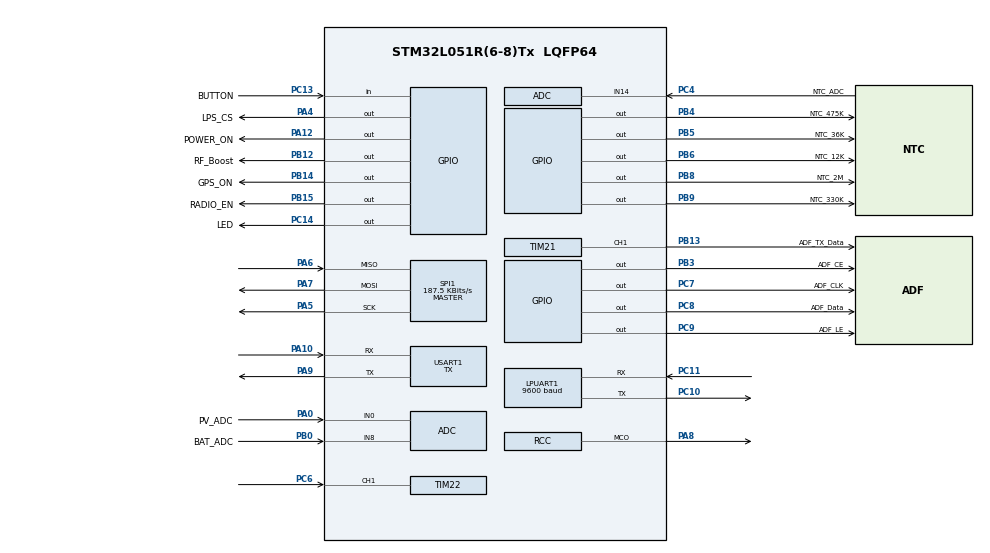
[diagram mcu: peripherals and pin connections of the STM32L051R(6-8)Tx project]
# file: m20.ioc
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ADC.ContinuousConvMode=DISABLE
ADC.Overrun=ADC_OVR_DATA_OVERWRITTEN
ADC.SamplingTime=ADC_SAMPLETIME_3CYCLES_5
IWDG.Prescaler=IWDG_PRESCALER_8
IWDG.Reload=4095
IWDG.Window=4095
LPUART1.BaudRate=9600
LPUART1.Mode=UART_MODE_TX_RX
LPUART1.OverrunDisableParam=UART_ADVFEATURE_OVERRUN_ENABLE
LPUART1.WordLength=UART_WORDLENGTH_8B
Mcu.Family=STM32L0
Mcu.Name=STM32L051R(6-8)Tx
Mcu.Package=LQFP64
NVIC.LPUART1_IRQn=true\:0\:0\:false\:false\:true\:true\:true\:true
NVIC.TIM21_IRQn=true\:0\:0\:false\:false\:true\:true\:true\:true
NVIC.TIM22_IRQn=true\:0\:0\:false\:false\:true\:true\:true\:true
NVIC.TIM2_IRQn=true\:0\:0\:false\:false\:true\:true\:true\:true
NVIC.TIM6_DAC_IRQn=true\:0\:0\:false\:false\:true\:true\:true\:true
PA0.GPIO_Label=PV_ADC
PA0.Mode=IN0
PA0.Signal=ADC_IN0
PA10.Mode=Asynchronous
PA10.Signal=USART1_RX
PA12.GPIO_Label=POWER_ON
PA12.Signal=GPIO_Output
PA4.GPIO_Label=LPS_CS
PA4.Signal=GPIO_Output
PA5.Mode=Full_Duplex_Master
PA5.Signal=SPI1_SCK
PA6.Mode=Full_Duplex_Master
PA6.Signal=SPI1_MISO
PA7.Mode=Full_Duplex_Master
PA7.Signal=SPI1_MOSI
PA8.GPIO_Speed=GPIO_SPEED_FREQ_VERY_HIGH
PA8.Mode=Clock-out
PA8.Signal=RCC_MCO
PA9.Mode=Asynchronous
PA9.Signal=USART1_TX
PB0.GPIO_Label=BAT_ADC
PB0.Mode=IN8
PB0.Signal=ADC_IN8
PB12.GPIO_Label=RF_Boost
PB12.Signal=GPIO_Output
PB13.GPIO_Label=ADF_TX_Data
PB13.Signal=S_TIM21_CH1
PB14.GPIO_Label=GPS_ON
PB14.Signal=GPIO_Output
PB15.GPIO_Label=RADIO_EN
PB15.Signal=GPIO_Output
PB3.GPIO_Label=ADF_CE
PB3.Signal=GPIO_Output
PB4.GPIO_Label=NTC_475K
PB4.GPIO_ModeDefaultOutputPP=GPIO_MODE_OUTPUT_OD
PB4.GPIO_PuPd=GPIO_NOPULL
PB4.Signal=GPIO_Output
PB5.GPIO_Label=NTC_36K
PB5.GPIO_ModeDefaultOutputPP=GPIO_MODE_OUTPUT_OD
PB5.GPIO_PuPd=GPIO_NOPULL
PB5.Signal=GPIO_Output
PB6.GPIO_Label=NTC_12K
PB6.GPIO_ModeDefaultOutputPP=GPIO_MODE_OUTPUT_OD
PB6.GPIO_PuPd=GPIO_NOPULL
PB6.Signal=GPIO_Output
PB8.GPIO_Label=NTC_2M
PB8.GPIO_ModeDefaultOutputPP=GPIO_MODE_OUTPUT_OD
PB8.GPIO_PuPd=GPIO_NOPULL
PB8.Signal=GPIO_Output
PB9.GPIO_Label=NTC_330K
PB9.GPIO_ModeDefaultOutputPP=GPIO_MODE_OUTPUT_OD
PB9.GPIO_PuPd=GPIO_NOPULL
PB9.Signal=GPIO_Output
PC10.Mode=Asynchronous
PC10.Signal=LPUART1_TX
PC11.Mode=Asynchronous
PC11.Signal=LPUART1_RX
PC13.GPIO_Label=BUTTON
PC13.Signal=GPIO_Input
PC14-OSC32_IN.GPIO_Label=LED
PC14-OSC32_IN.Signal=GPIO_Output
PC4.GPIO_Label=NTC_ADC
PC4.Mode=IN14
PC4.Signal=ADC_IN14
PC6.Signal=S_TIM22_CH1
PC7.GPIO_Label=ADF_CLK
PC7.Signal=GPIO_Output
PC8.GPIO_Label=ADF_Data
PC8.Signal=GPIO_Output
PC9.GPIO_Label=ADF_LE
PC9.Signal=GPIO_Output
PH0-OSC_IN.Mode=HSE-External-Oscillator
PH0-OSC_IN.Signal=RCC_OSC_IN
PH1-OSC_OUT.Mode=HSE-External-Oscillator
PH1-OSC_OUT.Signal=RCC_OSC_OUT
ProjectManager.HeapSize=0x200
ProjectManager.StackSize=0x400
ProjectManager.TargetToolchain=Makefile
RCC.AHBFreq_Value=12000000
RCC.APB1Freq_Value=12000000
RCC.APB1TimFreq_Value=12000000
RCC.APB2Freq_Value=12000000
RCC.APB2TimFreq_Value=12000000
RCC.HCLKFreq_Value=12000000
RCC.HSE_VALUE=8000000
RCC.HSI16_VALUE=16000000
RCC.HSI_VALUE=16000000
RCC.LSE_VALUE=32768
RCC.Lpuart1ClockSelection=RCC_LPUART1CLKSOURCE_SYSCLK
RCC.MSI_VALUE=2097000
RCC.PLLSourceVirtual=RCC_PLLSOURCE_HSE
RCC.RCC_MCOSource=RCC_MCO1SOURCE_HSE
RCC.SYSCLKFreq_VALUE=12000000
RCC.SYSCLKSource=RCC_SYSCLKSOURCE_PLLCLK
RCC.Usart1ClockSelection=RCC_USART1CLKSOURCE_SYSCLK
RCC.VCOOutputFreq_Value=24000000
SH.S_TIM21_CH1.0=TIM21_CH1,PWM Generation1 CH1
SH.S_TIM22_CH1.0=TIM22_CH1,TriggerSource_TI1FP1
SPI1.BaudRatePrescaler=SPI_BAUDRATEPRESCALER_64
SPI1.CLKPhase=SPI_PHASE_2EDGE
SPI1.CLKPolarity=SPI_POLARITY_HIGH
SPI1.CRCCalculation=SPI_CRCCALCULATION_ENABLE
SPI1.CRCLength=SPI_CRC_LENGTH_8BIT
SPI1.CalculateBaudRate=187.5 KBits/s
SPI1.Direction=SPI_DIRECTION_2LINES
SPI1.Mode=SPI_MODE_MASTER
SPI1.VirtualType=VM_MASTER
TIM21.Channel-PWM\ Generation1\ CH1=TIM_CHANNEL_1
TIM21.OCFastMode_PWM-PWM\ Generation1\ CH1=TIM_OCFAST_ENABLE
TIM6.Prescaler=60000
USART1.Mode=MODE_TX
USART1.VirtualMode-Asynchronous=VM_ASYNC
VP_IWDG_VS_IWDG.Mode=IWDG_Activate
VP_TIM22_VS_ControllerModeClock.Mode=Clock Mode
VP_TIM2_VS_ClockSourceINT.Mode=Internal
VP_TIM6_VS_ClockSourceINT.Mode=Enable_Timer
board=custom

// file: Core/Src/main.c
/* USER CODE BEGIN Header */
/*
 * Main file of M20 custom firmware project
 */
/* USER CODE END Header */
#include "main.h"

/* USER CODE BEGIN Includes */
#include "config.h"
#include "utils.h"

#if GPS_TYPE == 1
#include "nmea.h"
#elif GPS_TYPE == 2
#include "xm_gps.h"
#endif
#include "adf.h"
#if HORUS_ENABLE
#include "fsk4.h"
#include "horus_l2.h"
#endif
#if HORUS_ENABLE == 3
#include "horus_v3.h"
#endif
#if APRS_ENABLE
#include "afsk.h"
#include "aprs.h"
#endif
#if LPS22_ENABLE
#include "lps22hb.h"
#endif
#if DEBUG
#include <stdio.h>
#endif
/* USER CODE END Includes */

/* USER CODE BEGIN PV */
uint8_t GpsRxBuffer[GpsRxBuffer_SIZE];
uint16_t GpsBufferCounter = 0;
bool GpsBufferReady = false;
GPS GpsData;
uint8_t *gps_fix = &GpsData.Fix;

#if GPS_WATCHDOG
struct GpsWatchdogStruct {
	bool PreviousFix;
	bool AfterRestart;
	uint8_t AfterRestartCounter;
	bool TriggerRestart;

#if GPS_TYPE == 2
	uint32_t LastTime;
#endif
} GpsWatchdog;
#endif
uint8_t GpsResetCount = 0;

#if LPS22_ENABLE
uint8_t lps_init;
#endif

int16_t LpsTemp = 0;   // *10
uint16_t LpsPress = 0; // *10

uint16_t BatVoltage = 0;
uint16_t RawPvVoltage = 0;
uint16_t PvVoltage = 0;

int16_t ExtTemp = 0; // *10

#if ADF_PPS_CORRECTION_ENABLE
uint16_t TIM22_High = 0;
#endif

#if APRS_ENABLE
APRSPacket AprsPacket;
#endif

#if HORUS_ENABLE == 2
HorusBinaryPacket HorusPacket;
#endif

#if HORUS_ENABLE == 3
char rawBuffer[HORUS_UNCODED_BUFFER_SIZE];
#endif

uint16_t PacketCount = 0;

#if APRS_ENABLE && HORUS_ENABLE

char CodedBuffer[HORUS_CODED_BUFFER_SIZE > APRS_MAX_PACKET_LEN ? HORUS_CODED_BUFFER_SIZE : APRS_MAX_PACKET_LEN];

#elif APRS_ENABLE
char CodedBuffer[APRS_MAX_PACKET_LEN];
#else
char CodedBuffer[HORUS_CODED_BUFFER_SIZE];
#endif
uint8_t BufferLen;
/* USER CODE END PV */

void SystemClock_Config(void);
static void MX_GPIO_Init(void);
static void MX_LPUART1_UART_Init(void);
static void MX_USART1_UART_Init(void);
static void MX_SPI1_Init(void);
static void MX_TIM22_Init(void);
static void MX_ADC_Init(void);
static void MX_IWDG_Init(void);
static void MX_TIM6_Init(void);
static void MX_TIM21_Init(void);
static void MX_TIM2_Init(void);
/* USER CODE BEGIN PFP */
float convert_temperature(uint16_t temp_adc_raw);
void GPS_Handler(void);
#if LED_MODE == 2
void LED_Handler(void);
#endif
#if HORUS_ENABLE == 2
void build_horus_binary_v2_packet(void);
#elif HORUS_ENABLE == 3
uint8_t build_horus_binary_v3_packet(char* uncoded_buffer);
#endif
#if APRS_ENABLE
void build_aprs_packet(void);
#endif
void main_loop(void);
void DelayWithIWDG(uint16_t time);
#if GPS_TYPE == 1
void GpsAirborne(void);
#endif

#if DEBUG
#ifdef __GNUC__
/* With GCC/RAISONANCE, small printf (option LD Linker->Libraries->Small printf
   set to 'Yes') calls __io_putchar() */
#define PUTCHAR_PROTOTYPE int __io_putchar(int ch)
#else
#define PUTCHAR_PROTOTYPE int fputc(int ch, FILE* f)
#endif /* __GNUC__ */
/**
 * @brief  Retargets the C library printf function to the USART.
 * @param  None
 * @retval None
 */
PUTCHAR_PROTOTYPE {
	/* Place your implementation of fputc here */
	/* e.g. write a character to the EVAL_COM1 and Loop until the end of
	 * transmission */
	while (!LL_USART_IsActiveFlag_TXE(USART1)) {
	}
	LL_USART_TransmitData9(USART1, ch);

	return ch;
}
#endif
/* USER CODE END PFP */

/* USER CODE BEGIN 0 */
#if HORUS_ENABLE == 2
void build_horus_binary_v2_packet() {
	HorusPacket.PacketCount = PacketCount;
	HorusPacket.PayloadID = HORUS_V2_PAYLOAD_ID;
	HorusPacket.Hours = GpsData.Hours;
	HorusPacket.Minutes = GpsData.Minutes;
	HorusPacket.Seconds = GpsData.Seconds;
	HorusPacket.Lat = GpsData.Lat;
	HorusPacket.Lon = GpsData.Lon;
	HorusPacket.Speed = GpsData.Speed; // Doesn't work
	HorusPacket.Alt = GpsData.Alt;
	HorusPacket.Sats = GpsData.Sats;
	HorusPacket.AscentRate = GpsData.AscentRate;
	HorusPacket.Temp = (uint8_t)Round(LpsTemp / 10.0f);
	// ADC voltage: 3.3V, divided by ADC max value 4095 (2^12-1). That gives a
	// range between 0 for 0V and 1 for 3.3V. Than it's multiplied by max
	// variable value: 255, and divided by corresponding voltage: 5V, simplified
	// gives 187/4550 Note: this value will not go higher than 168 corresponding
	// to 3.3V max value of ADC
	HorusPacket.BatVoltage = (BatVoltage * 187) / 4550;
	HorusPacket.PvVoltage = (RawPvVoltage * 187) / 4550; // Same as above but prescaled previously by resistor divider values
	HorusPacket.ExtTemp = ExtTemp;
	HorusPacket.Hum = 0; // Not implemented
	HorusPacket.Press = LpsPress;
	HorusPacket.GpsResetCount = GpsResetCount;

	// Horus checksum
	HorusPacket.Checksum = (uint16_t)crc16((char*)&HorusPacket, sizeof(HorusPacket) - 2);
}
#elif HORUS_ENABLE == 3
uint8_t build_horus_binary_v3_packet(
    char* uncoded_buffer) { /* Sourced from https://github.com/darksidelemm/rs41-nfw/blob/main/fw/fw-files/rs41-nfw/rs41-nfw.ino#L936 */
	// Horus v3 packets are encoded using ASN1, and are encapsulated in packets
	// of sizes 32, 48, 64, 96 or 128 bytes (before coding)
	// The CRC16 for these packets is located at the *start* of the packet, still little-endian encoded

	// Erase the uncoded buffer
	// This has the effect of padding out the unused bytes in the packet with zeros
	Memset(uncoded_buffer, 0, HORUS_UNCODED_BUFFER_SIZE);

	// Should check how this is allocated in memory.

	// Need to check how this is allocated in memory. how much it uses.
	// .. also does it get cleared?

	horusTelemetry asnMessage = {
		.payloadCallsign = HORUS_V3_PAYLOAD_CALLSIGN,
	    .sequenceNumber = PacketCount,
	    .timeOfDaySeconds = GpsData.Hours * 3600 + GpsData.Minutes * 60 + GpsData.Seconds,
	    .latitude = (int32_t)((GpsData.Lat) * 100000),
	    .longitude = (int32_t)((GpsData.Lon) * 100000),
	    .altitudeMeters = GpsData.Alt,
	    // Example of adding some custom fields.
	    .extraSensors = {
	        .nCount = 2, // Number of custom fields.
	        .arr = {
				{
	                .name = "gps", // GPS restarts
	                .values = {
						.kind = horusInt_PRESENT,
	                    .u = {
							.horusInt = {
	                    		.nCount = 1,
	                        	.arr = {GpsResetCount},
	                    	}
						}
					},
	                .exist = {
	                    .name = true,
	                    .values = true,
	                },
	            },
	            {
	                .values = {
						.kind = horusStr_PRESENT,
	                    .u = {
	                        .horusStr = "M20" // Sonde identifier
	                    }
					},
	                .exist = {
	                    .values = true,
	                },
	            }
			},
	    },
	    .velocityHorizontalKilometersPerHour = GpsData.Speed, // km/h
	    .gnssSatellitesVisible = GpsData.Sats,
	    .ascentRateCentimetersPerSecond = GpsData.AscentRate, // cm/s
	    .pressurehPa_x10 = (int)(LpsPress),                   // *10
	    .temperatureCelsius_x10 = {
			.internal = LpsTemp, // *10
	        .external = ExtTemp, // *10
	        .exist = {
				.internal = LPS22_ENABLE,
				.external = NTC_ENABLE,
				.custom1 = false,
				.custom2 = false
			}
		},
	    .humidityPercentage = 0,
	    .milliVolts = {
			.battery = BatVoltage,
	        .solar = PvVoltage,
	        .exist = {
				.battery = BAT_ADC_ENABLE,
				.solar = PV_ADC_ENABLE,
				.custom1 = false,
				.custom2 = false
			}
		},
	    // We need to explicitly specify which optional fields we want to include in the packet
	    .exist = {
			.extraSensors = true,
	        .velocityHorizontalKilometersPerHour = (GPS_TYPE == 1), // GPS type 2 doesn't have speed
	        .gnssSatellitesVisible = true,
	        .ascentRateCentimetersPerSecond = true,
	        .pressurehPa_x10 = LPS22_ENABLE,
	        .temperatureCelsius_x10 = true,
	        .humidityPercentage = false, // not implemented yet
	        .milliVolts = true
		}
	};

	// The encoder needs a data structure for the serialization
	// Again - how much memory is allocated here?
	BitStream encodedMessage;

	// The Encoder may fail and update an error code
	int errCode;

	// Initialization associates the buffer to the bit stream
	// We want to write the uncoded message starting at 2 bytes into the message.

	BitStream_Init(&encodedMessage, (unsigned char*)(uncoded_buffer + 2), HORUS_UNCODED_BUFFER_SIZE - 1);
	// Originally this function call used a MUCH larger value for count
	// horusTelemetry_REQUIRED_BYTES_FOR_ENCODING);

	// Encode the message using uPER encoding rule

	// We patch in assert functionality in assert_override.h
	// Before running encode we set assert_value = 0
	// Then check the value in assert_value
	int assert_value = 0;

	if (!horusTelemetry_Encode(&asnMessage, &encodedMessage, &errCode, true) || assert_value != 0) {
		// Error occured
		return 0;
	} else {
		// Encoding was successful!
		// Now we need to figure out the required frame size, and add the CRC.
		int encodedSize = BitStream_GetLength(&encodedMessage);

		// Determine the required frame size.
		// Probably should do this from a list of valid sizes in a neater manner
		int frameSize = 128;
		if (encodedSize <= 30) {
			frameSize = 32;
		} else if (encodedSize <= 46) {
			frameSize = 48;
		} else if (encodedSize <= 62) {
			frameSize = 64;
		} else if (encodedSize <= 94) {
			frameSize = 96;
		} else if (encodedSize <= 126) {
			frameSize = 128;
		} else {
			// Frame too large
			// return 0; // Should this happen?
		}

		// Calculate CRC16 over the frame, starting at byte 2
		uint16_t packetCrc = (uint16_t)crc16((uncoded_buffer + 2), frameSize - 2);
		// Write CRC into bytes 0–1 of the packet
		Memcpy(uncoded_buffer, &packetCrc, sizeof(packetCrc)); // little‑endian on STM32

		return frameSize;
	}

	return 0;
}
#endif
#if APRS_ENABLE
void build_aprs_packet() {
	AprsPacket.PacketCount = PacketCount;
	AprsPacket.Hours = GpsData.Hours;
	AprsPacket.Minutes = GpsData.Minutes;
	AprsPacket.Seconds = GpsData.Seconds;
	AprsPacket.Lat = GpsData.Lat;
	AprsPacket.Lon = GpsData.Lon;
	AprsPacket.Speed = GpsData.Speed;
	AprsPacket.Alt = GpsData.Alt;
	AprsPacket.Sats = GpsData.Sats;
	AprsPacket.GpsResetCount = GpsResetCount;
	AprsPacket.Temp = (uint8_t)Round(LpsTemp / 10.0f);
	AprsPacket.ExtTemp = ExtTemp;
	AprsPacket.Press = LpsPress;
	AprsPacket.BatVoltage = BatVoltage;
	AprsPacket.PvVoltage = PvVoltage;
}
#endif
void main_loop(void) {
	// LED
#if LED_MODE == 1
	LL_GPIO_SetOutputPin(LED_GPIO_Port, LED_Pin);
#elif LED_MODE == 2
	if(LED_RE_EANBLE && GpsData.Fix>2 && GpsData.Alt < LED_DISABLE_ALT){
		LL_TIM_EnableCounter(TIM6);
		LL_TIM_EnableIT_UPDATE(TIM6);
	}
#endif

	// LPS22HB sensor
#if LPS22_ENABLE
	if (lps_init == 0) {
		LpsTemp = (int16_t)Round(LPS22_GetTemp() * 10.0f);
		LpsPress = (uint16_t)Round(LPS22_GetPress() * 10.0f);
	}
#if DEBUG
	printf("LPS22: Temp: %d C, press: %d /10 hPa\r\n", LpsTemp, LpsPress);
#endif
#endif

	// Payload / PV voltage
#if PV_ADC_ENABLE
	LL_ADC_REG_SetSequencerChannels(ADC1, LL_ADC_CHANNEL_0);
	LL_ADC_REG_StartConversion(ADC1);
	while (LL_ADC_IsActiveFlag_EOC(ADC1) == 0) {
	}
	RawPvVoltage =
	    (LL_ADC_REG_ReadConversionData12(ADC1) * (float)(PV_ADC_R1 + PV_ADC_R2)) / PV_ADC_R2; // Raw PV / payload voltage scaled by resistor divider
	PvVoltage = Round((RawPvVoltage * 3300.0f) / 4095);
	LL_ADC_ClearFlag_EOS(ADC1);
#if DEBUG
	printf("PV ADC value: %d\r\n", PvVoltage);
#endif
#endif

	// Bat voltage
#if BAT_ADC_ENABLE
	LL_ADC_REG_SetSequencerChannels(ADC1, LL_ADC_CHANNEL_8);
	LL_ADC_REG_StartConversion(ADC1);
	while (LL_ADC_IsActiveFlag_EOC(ADC1) == 0) {
	}
	BatVoltage = Round((LL_ADC_REG_ReadConversionData12(ADC1) * 3300.0f) / 4095); // ADC voltage scaled for voltage value
	LL_ADC_ClearFlag_EOS(ADC1);
#if DEBUG
	printf("Bat voltage value: %d\r\n", BatVoltage);
#endif
#endif

	// NTC temp reading
#if NTC_ENABLE
	LL_GPIO_SetOutputPin(NTC_36K_GPIO_Port, NTC_36K_Pin);
	LL_mDelay(5);

	LL_ADC_REG_SetSequencerChannels(ADC1, LL_ADC_CHANNEL_14);
	LL_ADC_REG_StartConversion(ADC1);
	while (LL_ADC_IsActiveFlag_EOC(ADC1) == 0) {
	}
	uint16_t temp_adc_raw = LL_ADC_REG_ReadConversionData12(ADC1);
	LL_ADC_ClearFlag_EOS(ADC1);

	LL_GPIO_ResetOutputPin(NTC_36K_GPIO_Port, NTC_36K_Pin);

	float NTC_T = convert_temperature(temp_adc_raw);
	ExtTemp = (int16_t)Round(NTC_T * 10.0);
#if DEBUG
	printf("NTC: raw: %d, Temp: %d /10 C\r\n", temp_adc_raw, ExtTemp);
#endif
#endif

#if GPS_WATCHDOG
	// Set a flag if we have initial fix.
	if (GpsData.Fix > 1 && GpsData.Sats > 0) {
		GpsWatchdog.PreviousFix = true;
		GpsWatchdog.AfterRestart = false;
	}
	// Check GPS reset conditions only if there was initial fix.
	if (GpsWatchdog.PreviousFix) {
		if (GpsData.Fix > 1 && GpsData.Sats > 0) {
			// If there is  fix check spoofing specific conditions.
			// Ascent rate
			// printf("%d %d\r\n",(int32_t)GpsData.Time - TIME_PERIOD,
			// GpsWatchdog.LastTime);
			/*if ((int32_t)GpsData.AscentRate >= GPS_WATCHDOG_ASCENTRATE
			    || (int32_t)GpsData.AscentRate <= (-1*GPS_WATCHDOG_ASCENTRATE)
			    // Time deviation
			    || (GpsWatchdog.LastTime != 0 &&
			    (((int32_t)GpsData.Time - TIME_PERIOD) - GpsWatchdog.LastTime >
			GPS_WATCHDOG_MAX_D_TIME
			    || GpsWatchdog.LastTime - ((int32_t)GpsData.Time - TIME_PERIOD) <
			GPS_WATCHDOG_MAX_D_TIME))) {
			  // If conditions match trigger a restart
			  GpsWatchdog.TriggerRestart = true;
			}

			GpsWatchdog.LastTime = GpsData.Time;
			// if (GpsData.AscentRate >= GPS_WATCHDOG_ASCENTRATE ||
			//(GpsWatchdog.LastTime != 0 &&
			// (GpsData.Time-TIME_PERIOD-GpsWatchdog.LastTime>GPS_WATCHDOG_MAX_TIME ||
			//
			GpsData.Time-TIME_PERIOD-GpsWatchdog.LastTime<(-1*GPS_WATCHDOG_MAX_TIME))))
			*/
		} else if (GpsWatchdog.AfterRestart) {
			// If there is no fix and gps after a restart give it some time before
			// next restart
			GpsWatchdog.AfterRestartCounter++;
			if (GpsWatchdog.AfterRestartCounter >= GPS_WATCHDOG_ARC / TIME_PERIOD) {
				GpsWatchdog.TriggerRestart = true;
			}
		} else {
			GpsWatchdog.TriggerRestart = true;
		}
	}
	// printf("%d %d %d %d\r\n", GpsWatchdog.PreviousFix,
	//       GpsWatchdog.AfterRestart, GpsWatchdog.AfterRestartCounter,
	//       GpsWatchdog.TriggerRestart);

	if (GpsWatchdog.TriggerRestart) {
		LL_GPIO_ResetOutputPin(GPS_ON_GPIO_Port, GPS_ON_Pin); // disable GPS
		DelayWithIWDG(500);
		LL_GPIO_SetOutputPin(GPS_ON_GPIO_Port, GPS_ON_Pin); // enable GPS
	}
#endif

#if APRS_ENABLE
	build_aprs_packet();

	BufferLen = encode_APRS_packet(AprsPacket, CodedBuffer);

	// Transmit
	AFSK_start_TX(CodedBuffer, BufferLen);
	while (AFSK_Active) {
		DelayWithIWDG(10);
	}
#endif
#if HORUS_ENABLE && APRS_ENABLE
	DelayWithIWDG(TX_PAUSE);
#endif
#if HORUS_ENABLE == 2
	build_horus_binary_v2_packet();
	BufferLen = horus_l2_encode_tx_packet((unsigned char*)CodedBuffer, (unsigned char*)&HorusPacket, sizeof(HorusPacket));
#elif HORUS_ENABLE == 3
	uint8_t pkt_len = build_horus_binary_v3_packet(rawBuffer);
	if (pkt_len != 0)
		BufferLen = horus_l2_encode_tx_packet((unsigned char*)CodedBuffer, (unsigned char*)&rawBuffer, pkt_len);
	else
		BufferLen = 0;
#endif

#if HORUS_ENABLE
	// Transmit
	if (BufferLen != 0) {
		FSK4_start_TX(CodedBuffer, BufferLen);
		while (FSK4_Active)
			DelayWithIWDG(10);
	} else {                                       // Error while creating packet, not sending
		LL_GPIO_TogglePin(LED_GPIO_Port, LED_Pin); // Toggle LED for info
	}
#endif

	PacketCount++;

#if GPS_WATCHDOG
	if (GpsWatchdog.TriggerRestart) {
#if GPS_TYPE == 1
		GpsAirborne(); // Send a command to GPS module to change to airborne mode.
		               // clear GPS buffer needed?
#endif
		// GPS type 2 doesn't need mode change

		// Reset variables to after restart state
		GpsWatchdog.TriggerRestart = false;
		GpsWatchdog.AfterRestart = true;
		GpsWatchdog.AfterRestartCounter = 0;
		// GpsWatchdog.LastTime = 0;

		GpsResetCount++;
	}
#endif

// LED
#if LED_MODE == 1
	LL_GPIO_ResetOutputPin(LED_GPIO_Port, LED_Pin);
#endif
}
/* USER CODE END 0 */

int main(void) {

	/* MCU Configuration--------------------------------------------------------*/

	/* Reset of all peripherals, Initializes the Flash interface and the Systick. */
	LL_APB2_GRP1_EnableClock(LL_APB2_GRP1_PERIPH_SYSCFG);
	LL_APB1_GRP1_EnableClock(LL_APB1_GRP1_PERIPH_PWR);

	/* SysTick_IRQn interrupt configuration */
	NVIC_SetPriority(SysTick_IRQn, 4);

	/* Configure the system clock */
	SystemClock_Config();

	/* Initialize all configured peripherals */
	MX_GPIO_Init();
	MX_LPUART1_UART_Init();
	MX_USART1_UART_Init();
	MX_SPI1_Init();
	MX_TIM22_Init();
	MX_ADC_Init();
#if IWDG_ENABLE
	MX_IWDG_Init();
#endif
	MX_TIM6_Init();
	MX_TIM21_Init();
	MX_TIM2_Init();
	/* USER CODE BEGIN 2 */

	// Power on modules
	LL_GPIO_SetOutputPin(POWER_ON_GPIO_Port, POWER_ON_Pin);
	LL_GPIO_SetOutputPin(GPS_ON_GPIO_Port, GPS_ON_Pin);
	LL_GPIO_SetOutputPin(RADIO_EN_GPIO_Port, RADIO_EN_Pin);
	adf_setup(); // Radio module setup

	LL_GPIO_SetOutputPin(LED_GPIO_Port, LED_Pin); // LED ON

#if DEBUG
	printf("Startup\r\n");
#endif

	// Init of LPS22 sensor, try 5 times
#if LPS22_ENABLE
	for (uint8_t i = 0; i < 5; i++) {
		lps_init = LPS22_Init();
		if (lps_init == 0) break;
	}
#if DEBUG
	printf("LPS init: %d\r\n", lps_init);
#endif
#endif

	// ADC init
#if NTC_ENABLE || BAT_ADC_ENABLE
	LL_ADC_ClearFlag_ADRDY(ADC1);
	LL_ADC_Enable(ADC1);
	while (LL_ADC_IsActiveFlag_ADRDY(ADC1) == 0) {
	}
#endif

	// GPS UART init
	LL_LPUART_Enable(LPUART1); // Disable interrupt for sending command
	LL_LPUART_EnableIT_RXNE(LPUART1);

#if GPS_TYPE == 1
	// u-blox change mode to airborne
	DelayWithIWDG(2000); // Wait for full GPS start
	GpsAirborne();       // Send a command to GPS module to change to airborne mode.
	DelayWithIWDG(100);
#endif

	// LED timer
#if LED_MODE == 2
	LL_TIM_EnableCounter(TIM6);
	LL_TIM_EnableIT_UPDATE(TIM6);
#else
	LL_GPIO_ResetOutputPin(LED_GPIO_Port, LED_Pin); // LED OFF
#endif

	// PPS freq correction timer
#if ADF_PPS_CORRECTION_ENABLE
	LL_EXTI_ClearFlag_0_31(LL_EXTI_LINE_2);
	LL_TIM_EnableCounter(TIM22);
	LL_TIM_EnableIT_UPDATE(TIM22);
#endif

	// main loop timer
	LL_TIM_EnableCounter(TIM2);
	LL_TIM_EnableIT_UPDATE(TIM2);

	/* Interrupt priorites:
	 * TIM21 - modulation timer: 0
	* TIM6 - LED timer: 0
	* TIM22 - Frequency correction timer: 0
	 * EXTI2_3 - GPS PPS correction: 1
	 * LPUART1 - GPS UART RX: 2
	 * SysTick: 4
	 * TIM2 - main loop: 5
	 */

	/* USER CODE END 2 */

	/* Infinite loop */
	while (1) {

/* USER CODE BEGIN 3 */
#ifdef IWDG_ENABLE
		LL_IWDG_ReloadCounter(IWDG);
#endif
		if (GpsBufferReady) {
#if GPS_TYPE == 1
			ParseNMEA(&GpsData, GpsRxBuffer);
#elif GPS_TYPE == 2
			parseXM(&GpsData, GpsRxBuffer);
#endif
#if GPS_DEBUG
			gps_debug(GpsData);
#endif
			GpsBufferReady = false;
		}
		LL_mDelay(10);
	}
	/* USER CODE END 3 */
}

void SystemClock_Config(void) {
	LL_FLASH_SetLatency(LL_FLASH_LATENCY_0);
	while (LL_FLASH_GetLatency() != LL_FLASH_LATENCY_0) {
	}
	LL_PWR_SetRegulVoltageScaling(LL_PWR_REGU_VOLTAGE_SCALE1);
	while (LL_PWR_IsActiveFlag_VOS() != 0) {
	}
	LL_RCC_HSE_Enable();

	/* Wait till HSE is ready */
	while (LL_RCC_HSE_IsReady() != 1) {
	}
	LL_RCC_LSI_Enable();

	/* Wait till LSI is ready */
	while (LL_RCC_LSI_IsReady() != 1) {
	}
	LL_RCC_PLL_ConfigDomain_SYS(LL_RCC_PLLSOURCE_HSE, LL_RCC_PLL_MUL_3, LL_RCC_PLL_DIV_2);
	LL_RCC_PLL_Enable();

	/* Wait till PLL is ready */
	while (LL_RCC_PLL_IsReady() != 1) {
	}
	LL_RCC_SetAHBPrescaler(LL_RCC_SYSCLK_DIV_1);
	LL_RCC_SetAPB1Prescaler(LL_RCC_APB1_DIV_1);
	LL_RCC_SetAPB2Prescaler(LL_RCC_APB2_DIV_1);
	LL_RCC_SetSysClkSource(LL_RCC_SYS_CLKSOURCE_PLL);

	/* Wait till System clock is ready */
	while (LL_RCC_GetSysClkSource() != LL_RCC_SYS_CLKSOURCE_STATUS_PLL) {
	}

	LL_Init1msTick(12000000);

	LL_SetSystemCoreClock(12000000);
	LL_RCC_SetUSARTClockSource(LL_RCC_USART1_CLKSOURCE_SYSCLK);
	LL_RCC_SetLPUARTClockSource(LL_RCC_LPUART1_CLKSOURCE_SYSCLK);
	LL_RCC_ConfigMCO(LL_RCC_MCO1SOURCE_HSE, LL_RCC_MCO1_DIV_1);
}

static void MX_ADC_Init(void) {

	LL_ADC_REG_InitTypeDef ADC_REG_InitStruct = {0};
	LL_ADC_InitTypeDef ADC_InitStruct = {0};

	LL_GPIO_InitTypeDef GPIO_InitStruct = {0};

	/* Peripheral clock enable */
	LL_APB2_GRP1_EnableClock(LL_APB2_GRP1_PERIPH_ADC1);

	LL_IOP_GRP1_EnableClock(LL_IOP_GRP1_PERIPH_GPIOA);
	LL_IOP_GRP1_EnableClock(LL_IOP_GRP1_PERIPH_GPIOC);
	LL_IOP_GRP1_EnableClock(LL_IOP_GRP1_PERIPH_GPIOB);
	/**ADC GPIO Configuration
	PA0   ------> ADC_IN0
	PC4   ------> ADC_IN14
	PB0   ------> ADC_IN8
	*/
	GPIO_InitStruct.Pin = PV_ADC_Pin;
	GPIO_InitStruct.Mode = LL_GPIO_MODE_ANALOG;
	GPIO_InitStruct.Pull = LL_GPIO_PULL_NO;
	LL_GPIO_Init(PV_ADC_GPIO_Port, &GPIO_InitStruct);

	GPIO_InitStruct.Pin = NTC_ADC_Pin;
	GPIO_InitStruct.Mode = LL_GPIO_MODE_ANALOG;
	GPIO_InitStruct.Pull = LL_GPIO_PULL_NO;
	LL_GPIO_Init(NTC_ADC_GPIO_Port, &GPIO_InitStruct);

	GPIO_InitStruct.Pin = BAT_ADC_Pin;
	GPIO_InitStruct.Mode = LL_GPIO_MODE_ANALOG;
	GPIO_InitStruct.Pull = LL_GPIO_PULL_NO;
	LL_GPIO_Init(BAT_ADC_GPIO_Port, &GPIO_InitStruct);

	/** Configure Regular Channel
	 */
	LL_ADC_REG_SetSequencerChAdd(ADC1, LL_ADC_CHANNEL_0);

	/** Configure Regular Channel
	 */
	LL_ADC_REG_SetSequencerChAdd(ADC1, LL_ADC_CHANNEL_8);

	/** Configure Regular Channel
	 */
	LL_ADC_REG_SetSequencerChAdd(ADC1, LL_ADC_CHANNEL_14);

	/** Common config
	 */
	ADC_REG_InitStruct.TriggerSource = LL_ADC_REG_TRIG_SOFTWARE;
	ADC_REG_InitStruct.SequencerDiscont = LL_ADC_REG_SEQ_DISCONT_DISABLE;
	ADC_REG_InitStruct.ContinuousMode = LL_ADC_REG_CONV_SINGLE;
	ADC_REG_InitStruct.DMATransfer = LL_ADC_REG_DMA_TRANSFER_NONE;
	ADC_REG_InitStruct.Overrun = LL_ADC_REG_OVR_DATA_OVERWRITTEN;
	LL_ADC_REG_Init(ADC1, &ADC_REG_InitStruct);
	LL_ADC_SetSamplingTimeCommonChannels(ADC1, LL_ADC_SAMPLINGTIME_3CYCLES_5);
	LL_ADC_SetOverSamplingScope(ADC1, LL_ADC_OVS_DISABLE);
	LL_ADC_REG_SetSequencerScanDirection(ADC1, LL_ADC_REG_SEQ_SCAN_DIR_FORWARD);
	LL_ADC_SetCommonFrequencyMode(__LL_ADC_COMMON_INSTANCE(ADC1), LL_ADC_CLOCK_FREQ_MODE_HIGH);
	LL_ADC_DisableIT_EOC(ADC1);
	LL_ADC_DisableIT_EOS(ADC1);
	ADC_InitStruct.Clock = LL_ADC_CLOCK_SYNC_PCLK_DIV1;
	ADC_InitStruct.Resolution = LL_ADC_RESOLUTION_12B;
	ADC_InitStruct.DataAlignment = LL_ADC_DATA_ALIGN_RIGHT;
	ADC_InitStruct.LowPowerMode = LL_ADC_LP_MODE_NONE;
	LL_ADC_Init(ADC1, &ADC_InitStruct);

	/* Enable ADC internal voltage regulator */
	LL_ADC_EnableInternalRegulator(ADC1);
	/* Delay for ADC internal voltage regulator stabilization. */
	/* Compute number of CPU cycles to wait for, from delay in us. */
	/* Note: Variable divided by 2 to compensate partially */
	/* CPU processing cycles (depends on compilation optimization). */
	/* Note: If system core clock frequency is below 200kHz, wait time */
	/* is only a few CPU processing cycles. */
	uint32_t wait_loop_index;
	wait_loop_index = ((LL_ADC_DELAY_INTERNAL_REGUL_STAB_US * (SystemCoreClock / (100000 * 2))) / 10);
	while (wait_loop_index != 0) {
		wait_loop_index--;
	}
}

static void MX_IWDG_Init(void) {

	LL_IWDG_Enable(IWDG);
	LL_IWDG_EnableWriteAccess(IWDG);
	LL_IWDG_SetPrescaler(IWDG, LL_IWDG_PRESCALER_8);
	LL_IWDG_SetReloadCounter(IWDG, 4095);
	while (LL_IWDG_IsReady(IWDG) != 1) {
	}

	LL_IWDG_ReloadCounter(IWDG);
}

static void MX_LPUART1_UART_Init(void) {

	LL_LPUART_InitTypeDef LPUART_InitStruct = {0};

	LL_GPIO_InitTypeDef GPIO_InitStruct = {0};

	/* Peripheral clock enable */
	LL_APB1_GRP1_EnableClock(LL_APB1_GRP1_PERIPH_LPUART1);

	LL_IOP_GRP1_EnableClock(LL_IOP_GRP1_PERIPH_GPIOC);
	/**LPUART1 GPIO Configuration
	PC10   ------> LPUART1_TX
	PC11   ------> LPUART1_RX
	*/
	GPIO_InitStruct.Pin = LL_GPIO_PIN_10;
	GPIO_InitStruct.Mode = LL_GPIO_MODE_ALTERNATE;
	GPIO_InitStruct.Speed = LL_GPIO_SPEED_FREQ_VERY_HIGH;
	GPIO_InitStruct.OutputType = LL_GPIO_OUTPUT_PUSHPULL;
	GPIO_InitStruct.Pull = LL_GPIO_PULL_NO;
	GPIO_InitStruct.Alternate = LL_GPIO_AF_0;
	LL_GPIO_Init(GPIOC, &GPIO_InitStruct);

	GPIO_InitStruct.Pin = LL_GPIO_PIN_11;
	GPIO_InitStruct.Mode = LL_GPIO_MODE_ALTERNATE;
	GPIO_InitStruct.Speed = LL_GPIO_SPEED_FREQ_VERY_HIGH;
	GPIO_InitStruct.OutputType = LL_GPIO_OUTPUT_PUSHPULL;
	GPIO_InitStruct.Pull = LL_GPIO_PULL_NO;
	GPIO_InitStruct.Alternate = LL_GPIO_AF_0;
	LL_GPIO_Init(GPIOC, &GPIO_InitStruct);

	/* LPUART1 interrupt Init */
	NVIC_SetPriority(LPUART1_IRQn, 2);
	NVIC_EnableIRQ(LPUART1_IRQn);

	/* USER CODE BEGIN LPUART1_Init 1 */
#if GPS_TYPE == 1
	LPUART_InitStruct.BaudRate = 9600;
#elif GPS_TYPE == 2
	LPUART_InitStruct.BaudRate = 38400;
#endif
	/* USER CODE END LPUART1_Init 1 */
	// LPUART_InitStruct.BaudRate = 9600;
	LPUART_InitStruct.DataWidth = LL_LPUART_DATAWIDTH_8B;
	LPUART_InitStruct.StopBits = LL_LPUART_STOPBITS_1;
	LPUART_InitStruct.Parity = LL_LPUART_PARITY_NONE;
	LPUART_InitStruct.TransferDirection = LL_LPUART_DIRECTION_TX_RX;
	LPUART_InitStruct.HardwareFlowControl = LL_LPUART_HWCONTROL_NONE;
	LL_LPUART_Init(LPUART1, &LPUART_InitStruct);
}

static void MX_USART1_UART_Init(void) {

	LL_USART_InitTypeDef USART_InitStruct = {0};

	LL_GPIO_InitTypeDef GPIO_InitStruct = {0};

	/* Peripheral clock enable */
	LL_APB2_GRP1_EnableClock(LL_APB2_GRP1_PERIPH_USART1);

	LL_IOP_GRP1_EnableClock(LL_IOP_GRP1_PERIPH_GPIOA);
	/**USART1 GPIO Configuration
	PA9   ------> USART1_TX
	PA10   ------> USART1_RX
	*/
	GPIO_InitStruct.Pin = LL_GPIO_PIN_9;
	GPIO_InitStruct.Mode = LL_GPIO_MODE_ALTERNATE;
	GPIO_InitStruct.Speed = LL_GPIO_SPEED_FREQ_VERY_HIGH;
	GPIO_InitStruct.OutputType = LL_GPIO_OUTPUT_PUSHPULL;
	GPIO_InitStruct.Pull = LL_GPIO_PULL_NO;
	GPIO_InitStruct.Alternate = LL_GPIO_AF_4;
	LL_GPIO_Init(GPIOA, &GPIO_InitStruct);

	GPIO_InitStruct.Pin = LL_GPIO_PIN_10;
	GPIO_InitStruct.Mode = LL_GPIO_MODE_ALTERNATE;
	GPIO_InitStruct.Speed = LL_GPIO_SPEED_FREQ_VERY_HIGH;
	GPIO_InitStruct.OutputType = LL_GPIO_OUTPUT_PUSHPULL;
	GPIO_InitStruct.Pull = LL_GPIO_PULL_NO;
	GPIO_InitStruct.Alternate = LL_GPIO_AF_4;
	LL_GPIO_Init(GPIOA, &GPIO_InitStruct);

	USART_InitStruct.BaudRate = 115200;
	USART_InitStruct.DataWidth = LL_USART_DATAWIDTH_8B;
	USART_InitStruct.StopBits = LL_USART_STOPBITS_1;
	USART_InitStruct.Parity = LL_USART_PARITY_NONE;
	USART_InitStruct.TransferDirection = LL_USART_DIRECTION_TX;
	USART_InitStruct.HardwareFlowControl = LL_USART_HWCONTROL_NONE;
	USART_InitStruct.OverSampling = LL_USART_OVERSAMPLING_16;
	LL_USART_Init(USART1, &USART_InitStruct);
	LL_USART_ConfigAsyncMode(USART1);
	LL_USART_Enable(USART1);
}

static void MX_SPI1_Init(void) {

	LL_SPI_InitTypeDef SPI_InitStruct = {0};

	LL_GPIO_InitTypeDef GPIO_InitStruct = {0};

	/* Peripheral clock enable */
	LL_APB2_GRP1_EnableClock(LL_APB2_GRP1_PERIPH_SPI1);

	LL_IOP_GRP1_EnableClock(LL_IOP_GRP1_PERIPH_GPIOA);
	/**SPI1 GPIO Configuration
	PA5   ------> SPI1_SCK
	PA6   ------> SPI1_MISO
	PA7   ------> SPI1_MOSI
	*/
	GPIO_InitStruct.Pin = LL_GPIO_PIN_5;
	GPIO_InitStruct.Mode = LL_GPIO_MODE_ALTERNATE;
	GPIO_InitStruct.Speed = LL_GPIO_SPEED_FREQ_VERY_HIGH;
	GPIO_InitStruct.OutputType = LL_GPIO_OUTPUT_PUSHPULL;
	GPIO_InitStruct.Pull = LL_GPIO_PULL_NO;
	GPIO_InitStruct.Alternate = LL_GPIO_AF_0;
	LL_GPIO_Init(GPIOA, &GPIO_InitStruct);

	GPIO_InitStruct.Pin = LL_GPIO_PIN_6;
	GPIO_InitStruct.Mode = LL_GPIO_MODE_ALTERNATE;
	GPIO_InitStruct.Speed = LL_GPIO_SPEED_FREQ_VERY_HIGH;
	GPIO_InitStruct.OutputType = LL_GPIO_OUTPUT_PUSHPULL;
	GPIO_InitStruct.Pull = LL_GPIO_PULL_NO;
	GPIO_InitStruct.Alternate = LL_GPIO_AF_0;
	LL_GPIO_Init(GPIOA, &GPIO_InitStruct);

	GPIO_InitStruct.Pin = LL_GPIO_PIN_7;
	GPIO_InitStruct.Mode = LL_GPIO_MODE_ALTERNATE;
	GPIO_InitStruct.Speed = LL_GPIO_SPEED_FREQ_VERY_HIGH;
	GPIO_InitStruct.OutputType = LL_GPIO_OUTPUT_PUSHPULL;
	GPIO_InitStruct.Pull = LL_GPIO_PULL_NO;
	GPIO_InitStruct.Alternate = LL_GPIO_AF_0;
	LL_GPIO_Init(GPIOA, &GPIO_InitStruct);

	/* SPI1 parameter configuration*/
	SPI_InitStruct.TransferDirection = LL_SPI_FULL_DUPLEX;
	SPI_InitStruct.Mode = LL_SPI_MODE_MASTER;
	SPI_InitStruct.DataWidth = LL_SPI_DATAWIDTH_8BIT;
	SPI_InitStruct.ClockPolarity = LL_SPI_POLARITY_HIGH;
	SPI_InitStruct.ClockPhase = LL_SPI_PHASE_2EDGE;
	SPI_InitStruct.NSS = LL_SPI_NSS_SOFT;
	SPI_InitStruct.BaudRate = LL_SPI_BAUDRATEPRESCALER_DIV64;
	SPI_InitStruct.BitOrder = LL_SPI_MSB_FIRST;
	SPI_InitStruct.CRCCalculation = LL_SPI_CRCCALCULATION_ENABLE;
	SPI_InitStruct.CRCPoly = 7;
	LL_SPI_Init(SPI1, &SPI_InitStruct);
	LL_SPI_SetStandard(SPI1, LL_SPI_PROTOCOL_MOTOROLA);
}

static void MX_TIM2_Init(void) {

	LL_TIM_InitTypeDef TIM_InitStruct = {0};

	/* Peripheral clock enable */
	LL_APB1_GRP1_EnableClock(LL_APB1_GRP1_PERIPH_TIM2);

	/* TIM2 interrupt Init */
	NVIC_SetPriority(TIM2_IRQn, 5);
	NVIC_EnableIRQ(TIM2_IRQn);

	/* USER CODE BEGIN TIM2_Init 1 */
	TIM_InitStruct.Autoreload = ((TIME_PERIOD * 1000) / 5) - 1;
	/* USER CODE END TIM2_Init 1 */
	TIM_InitStruct.Prescaler = 60000;
	TIM_InitStruct.CounterMode = LL_TIM_COUNTERMODE_UP;
	// TIM_InitStruct.Autoreload = 65535;
	TIM_InitStruct.ClockDivision = LL_TIM_CLOCKDIVISION_DIV1;
	LL_TIM_Init(TIM2, &TIM_InitStruct);
	LL_TIM_DisableARRPreload(TIM2);
	LL_TIM_SetClockSource(TIM2, LL_TIM_CLOCKSOURCE_INTERNAL);
	LL_TIM_SetTriggerOutput(TIM2, LL_TIM_TRGO_RESET);
	LL_TIM_DisableMasterSlaveMode(TIM2);
}

static void MX_TIM6_Init(void) {

	LL_TIM_InitTypeDef TIM_InitStruct = {0};

	/* Peripheral clock enable */
	LL_APB1_GRP1_EnableClock(LL_APB1_GRP1_PERIPH_TIM6);

	/* TIM6 interrupt Init */
	NVIC_SetPriority(TIM6_DAC_IRQn, 0);
	NVIC_EnableIRQ(TIM6_DAC_IRQn);

	/* USER CODE BEGIN TIM6_Init 1 */
	TIM_InitStruct.Autoreload = (LED_TIMER_PERIOD / 5) - 1;
	/* USER CODE END TIM6_Init 1 */
	TIM_InitStruct.Prescaler = 60000;
	TIM_InitStruct.CounterMode = LL_TIM_COUNTERMODE_UP;
	// TIM_InitStruct.Autoreload = 65535;
	LL_TIM_Init(TIM6, &TIM_InitStruct);
	LL_TIM_DisableARRPreload(TIM6);
	LL_TIM_SetTriggerOutput(TIM6, LL_TIM_TRGO_RESET);
	LL_TIM_DisableMasterSlaveMode(TIM6);
}

static void MX_TIM21_Init(void) {

	LL_TIM_InitTypeDef TIM_InitStruct = {0};
	LL_TIM_OC_InitTypeDef TIM_OC_InitStruct = {0};

	LL_GPIO_InitTypeDef GPIO_InitStruct = {0};

	/* Peripheral clock enable */
	LL_APB2_GRP1_EnableClock(LL_APB2_GRP1_PERIPH_TIM21);

	/* TIM21 interrupt Init */
	NVIC_SetPriority(TIM21_IRQn, 0);
	NVIC_EnableIRQ(TIM21_IRQn);

	TIM_InitStruct.Prescaler = 0;
	TIM_InitStruct.CounterMode = LL_TIM_COUNTERMODE_UP;
	TIM_InitStruct.Autoreload = 65535;
	TIM_InitStruct.ClockDivision = LL_TIM_CLOCKDIVISION_DIV1;
	LL_TIM_Init(TIM21, &TIM_InitStruct);
	LL_TIM_DisableARRPreload(TIM21);
	LL_TIM_OC_EnablePreload(TIM21, LL_TIM_CHANNEL_CH1);
	TIM_OC_InitStruct.OCMode = LL_TIM_OCMODE_PWM1;
	TIM_OC_InitStruct.OCState = LL_TIM_OCSTATE_DISABLE;
	TIM_OC_InitStruct.CompareValue = 0;
	TIM_OC_InitStruct.OCPolarity = LL_TIM_OCPOLARITY_HIGH;
	LL_TIM_OC_Init(TIM21, LL_TIM_CHANNEL_CH1, &TIM_OC_InitStruct);
	LL_TIM_OC_EnableFast(TIM21, LL_TIM_CHANNEL_CH1);
	LL_TIM_SetTriggerOutput(TIM21, LL_TIM_TRGO_RESET);
	LL_TIM_DisableMasterSlaveMode(TIM21);
	LL_IOP_GRP1_EnableClock(LL_IOP_GRP1_PERIPH_GPIOB);
	/**TIM21 GPIO Configuration
	PB13   ------> TIM21_CH1
	*/
	GPIO_InitStruct.Pin = ADF_TX_Data_Pin;
	GPIO_InitStruct.Mode = LL_GPIO_MODE_ALTERNATE;
	GPIO_InitStruct.Speed = LL_GPIO_SPEED_FREQ_HIGH;
	GPIO_InitStruct.OutputType = LL_GPIO_OUTPUT_PUSHPULL;
	GPIO_InitStruct.Pull = LL_GPIO_PULL_NO;
	GPIO_InitStruct.Alternate = LL_GPIO_AF_6;
	LL_GPIO_Init(ADF_TX_Data_GPIO_Port, &GPIO_InitStruct);
}

static void MX_TIM22_Init(void) {

	LL_TIM_InitTypeDef TIM_InitStruct = {0};

	/* Peripheral clock enable */
	LL_APB2_GRP1_EnableClock(LL_APB2_GRP1_PERIPH_TIM22);

	/* TIM22 interrupt Init */
	NVIC_SetPriority(TIM22_IRQn, 0);
	NVIC_EnableIRQ(TIM22_IRQn);

	TIM_InitStruct.Prescaler = 0;
	TIM_InitStruct.CounterMode = LL_TIM_COUNTERMODE_UP;
	TIM_InitStruct.Autoreload = 65535;
	TIM_InitStruct.ClockDivision = LL_TIM_CLOCKDIVISION_DIV1;
	LL_TIM_Init(TIM22, &TIM_InitStruct);
	LL_TIM_DisableARRPreload(TIM22);
	LL_TIM_SetClockSource(TIM22, LL_TIM_CLOCKSOURCE_INTERNAL);
	LL_TIM_SetTriggerOutput(TIM22, LL_TIM_TRGO_RESET);
	LL_TIM_DisableMasterSlaveMode(TIM22);
}

static void MX_GPIO_Init(void) {
	LL_EXTI_InitTypeDef EXTI_InitStruct = {0};
	LL_GPIO_InitTypeDef GPIO_InitStruct = {0};

	/* GPIO Ports Clock Enable */
	LL_IOP_GRP1_EnableClock(LL_IOP_GRP1_PERIPH_GPIOC);
	LL_IOP_GRP1_EnableClock(LL_IOP_GRP1_PERIPH_GPIOH);
	LL_IOP_GRP1_EnableClock(LL_IOP_GRP1_PERIPH_GPIOA);
	LL_IOP_GRP1_EnableClock(LL_IOP_GRP1_PERIPH_GPIOB);

	/**/
	LL_GPIO_ResetOutputPin(LED_GPIO_Port, LED_Pin);

	/**/
	LL_GPIO_ResetOutputPin(LPS_CS_GPIO_Port, LPS_CS_Pin);

	/**/
	LL_GPIO_ResetOutputPin(RF_Boost_GPIO_Port, RF_Boost_Pin);

	/**/
	LL_GPIO_ResetOutputPin(GPS_ON_GPIO_Port, GPS_ON_Pin);

	/**/
	LL_GPIO_ResetOutputPin(RADIO_EN_GPIO_Port, RADIO_EN_Pin);

	/**/
	LL_GPIO_ResetOutputPin(ADF_CLK_GPIO_Port, ADF_CLK_Pin);

	/**/
	LL_GPIO_ResetOutputPin(ADF_Data_GPIO_Port, ADF_Data_Pin);

	/**/
	LL_GPIO_ResetOutputPin(ADF_LE_GPIO_Port, ADF_LE_Pin);

	/**/
	LL_GPIO_ResetOutputPin(POWER_ON_GPIO_Port, POWER_ON_Pin);

	/**/
	LL_GPIO_ResetOutputPin(ADF_CE_GPIO_Port, ADF_CE_Pin);

	/**/
	LL_GPIO_SetOutputPin(NTC_475K_GPIO_Port, NTC_475K_Pin);

	/**/
	LL_GPIO_ResetOutputPin(NTC_36K_GPIO_Port, NTC_36K_Pin);

	/**/
	LL_GPIO_SetOutputPin(NTC_12K_GPIO_Port, NTC_12K_Pin);

	/**/
	LL_GPIO_SetOutputPin(NTC_2M_GPIO_Port, NTC_2M_Pin);

	/**/
	LL_GPIO_SetOutputPin(NTC_330K_GPIO_Port, NTC_330K_Pin);

	/**/
	GPIO_InitStruct.Pin = BUTTON_Pin;
	GPIO_InitStruct.Mode = LL_GPIO_MODE_INPUT;
	GPIO_InitStruct.Pull = LL_GPIO_PULL_NO;
	LL_GPIO_Init(BUTTON_GPIO_Port, &GPIO_InitStruct);

	/**/
	GPIO_InitStruct.Pin = LED_Pin;
	GPIO_InitStruct.Mode = LL_GPIO_MODE_OUTPUT;
	GPIO_InitStruct.Speed = LL_GPIO_SPEED_FREQ_LOW;
	GPIO_InitStruct.OutputType = LL_GPIO_OUTPUT_PUSHPULL;
	GPIO_InitStruct.Pull = LL_GPIO_PULL_NO;
	LL_GPIO_Init(LED_GPIO_Port, &GPIO_InitStruct);

	/**/
	GPIO_InitStruct.Pin = LPS_CS_Pin;
	GPIO_InitStruct.Mode = LL_GPIO_MODE_OUTPUT;
	GPIO_InitStruct.Speed = LL_GPIO_SPEED_FREQ_LOW;
	GPIO_InitStruct.OutputType = LL_GPIO_OUTPUT_PUSHPULL;
	GPIO_InitStruct.Pull = LL_GPIO_PULL_NO;
	LL_GPIO_Init(LPS_CS_GPIO_Port, &GPIO_InitStruct);

	/**/
	GPIO_InitStruct.Pin = RF_Boost_Pin;
	GPIO_InitStruct.Mode = LL_GPIO_MODE_OUTPUT;
	GPIO_InitStruct.Speed = LL_GPIO_SPEED_FREQ_LOW;
	GPIO_InitStruct.OutputType = LL_GPIO_OUTPUT_PUSHPULL;
	GPIO_InitStruct.Pull = LL_GPIO_PULL_NO;
	LL_GPIO_Init(RF_Boost_GPIO_Port, &GPIO_InitStruct);

	/**/
	GPIO_InitStruct.Pin = GPS_ON_Pin;
	GPIO_InitStruct.Mode = LL_GPIO_MODE_OUTPUT;
	GPIO_InitStruct.Speed = LL_GPIO_SPEED_FREQ_LOW;
	GPIO_InitStruct.OutputType = LL_GPIO_OUTPUT_PUSHPULL;
	GPIO_InitStruct.Pull = LL_GPIO_PULL_NO;
	LL_GPIO_Init(GPS_ON_GPIO_Port, &GPIO_InitStruct);

	/**/
	GPIO_InitStruct.Pin = RADIO_EN_Pin;
	GPIO_InitStruct.Mode = LL_GPIO_MODE_OUTPUT;
	GPIO_InitStruct.Speed = LL_GPIO_SPEED_FREQ_LOW;
	GPIO_InitStruct.OutputType = LL_GPIO_OUTPUT_PUSHPULL;
	GPIO_InitStruct.Pull = LL_GPIO_PULL_NO;
	LL_GPIO_Init(RADIO_EN_GPIO_Port, &GPIO_InitStruct);

	/**/
	GPIO_InitStruct.Pin = ADF_CLK_Pin;
	GPIO_InitStruct.Mode = LL_GPIO_MODE_OUTPUT;
	GPIO_InitStruct.Speed = LL_GPIO_SPEED_FREQ_LOW;
	GPIO_InitStruct.OutputType = LL_GPIO_OUTPUT_PUSHPULL;
	GPIO_InitStruct.Pull = LL_GPIO_PULL_NO;
	LL_GPIO_Init(ADF_CLK_GPIO_Port, &GPIO_InitStruct);

	/**/
	GPIO_InitStruct.Pin = ADF_Data_Pin;
	GPIO_InitStruct.Mode = LL_GPIO_MODE_OUTPUT;
	GPIO_InitStruct.Speed = LL_GPIO_SPEED_FREQ_LOW;
	GPIO_InitStruct.OutputType = LL_GPIO_OUTPUT_PUSHPULL;
	GPIO_InitStruct.Pull = LL_GPIO_PULL_NO;
	LL_GPIO_Init(ADF_Data_GPIO_Port, &GPIO_InitStruct);

	/**/
	GPIO_InitStruct.Pin = ADF_LE_Pin;
	GPIO_InitStruct.Mode = LL_GPIO_MODE_OUTPUT;
	GPIO_InitStruct.Speed = LL_GPIO_SPEED_FREQ_LOW;
	GPIO_InitStruct.OutputType = LL_GPIO_OUTPUT_PUSHPULL;
	GPIO_InitStruct.Pull = LL_GPIO_PULL_NO;
	LL_GPIO_Init(ADF_LE_GPIO_Port, &GPIO_InitStruct);

	/**/
	GPIO_InitStruct.Pin = LL_GPIO_PIN_8;
	GPIO_InitStruct.Mode = LL_GPIO_MODE_ALTERNATE;
	GPIO_InitStruct.Speed = LL_GPIO_SPEED_FREQ_VERY_HIGH;
	GPIO_InitStruct.OutputType = LL_GPIO_OUTPUT_PUSHPULL;
	GPIO_InitStruct.Pull = LL_GPIO_PULL_NO;
	GPIO_InitStruct.Alternate = LL_GPIO_AF_0;
	LL_GPIO_Init(GPIOA, &GPIO_InitStruct);

	/**/
	GPIO_InitStruct.Pin = POWER_ON_Pin;
	GPIO_InitStruct.Mode = LL_GPIO_MODE_OUTPUT;
	GPIO_InitStruct.Speed = LL_GPIO_SPEED_FREQ_LOW;
	GPIO_InitStruct.OutputType = LL_GPIO_OUTPUT_PUSHPULL;
	GPIO_InitStruct.Pull = LL_GPIO_PULL_NO;
	LL_GPIO_Init(POWER_ON_GPIO_Port, &GPIO_InitStruct);

	/**/
	GPIO_InitStruct.Pin = ADF_CE_Pin;
	GPIO_InitStruct.Mode = LL_GPIO_MODE_OUTPUT;
	GPIO_InitStruct.Speed = LL_GPIO_SPEED_FREQ_LOW;
	GPIO_InitStruct.OutputType = LL_GPIO_OUTPUT_PUSHPULL;
	GPIO_InitStruct.Pull = LL_GPIO_PULL_NO;
	LL_GPIO_Init(ADF_CE_GPIO_Port, &GPIO_InitStruct);

	/**/
	GPIO_InitStruct.Pin = NTC_475K_Pin;
	GPIO_InitStruct.Mode = LL_GPIO_MODE_OUTPUT;
	GPIO_InitStruct.Speed = LL_GPIO_SPEED_FREQ_LOW;
	GPIO_InitStruct.OutputType = LL_GPIO_OUTPUT_OPENDRAIN;
	GPIO_InitStruct.Pull = LL_GPIO_PULL_NO;
	LL_GPIO_Init(NTC_475K_GPIO_Port, &GPIO_InitStruct);

	/**/
	GPIO_InitStruct.Pin = NTC_36K_Pin;
	GPIO_InitStruct.Mode = LL_GPIO_MODE_OUTPUT;
	GPIO_InitStruct.Speed = LL_GPIO_SPEED_FREQ_LOW;
	GPIO_InitStruct.OutputType = LL_GPIO_OUTPUT_PUSHPULL;
	GPIO_InitStruct.Pull = LL_GPIO_PULL_NO;
	LL_GPIO_Init(NTC_36K_GPIO_Port, &GPIO_InitStruct);

	/**/
	GPIO_InitStruct.Pin = NTC_12K_Pin;
	GPIO_InitStruct.Mode = LL_GPIO_MODE_OUTPUT;
	GPIO_InitStruct.Speed = LL_GPIO_SPEED_FREQ_LOW;
	GPIO_InitStruct.OutputType = LL_GPIO_OUTPUT_OPENDRAIN;
	GPIO_InitStruct.Pull = LL_GPIO_PULL_NO;
	LL_GPIO_Init(NTC_12K_GPIO_Port, &GPIO_InitStruct);

	/**/
	GPIO_InitStruct.Pin = NTC_2M_Pin;
	GPIO_InitStruct.Mode = LL_GPIO_MODE_OUTPUT;
	GPIO_InitStruct.Speed = LL_GPIO_SPEED_FREQ_LOW;
	GPIO_InitStruct.OutputType = LL_GPIO_OUTPUT_OPENDRAIN;
	GPIO_InitStruct.Pull = LL_GPIO_PULL_NO;
	LL_GPIO_Init(NTC_2M_GPIO_Port, &GPIO_InitStruct);

	/**/
	GPIO_InitStruct.Pin = NTC_330K_Pin;
	GPIO_InitStruct.Mode = LL_GPIO_MODE_OUTPUT;
	GPIO_InitStruct.Speed = LL_GPIO_SPEED_FREQ_LOW;
	GPIO_InitStruct.OutputType = LL_GPIO_OUTPUT_OPENDRAIN;
	GPIO_InitStruct.Pull = LL_GPIO_PULL_NO;
	LL_GPIO_Init(NTC_330K_GPIO_Port, &GPIO_InitStruct);

	/**/
	LL_SYSCFG_SetEXTISource(LL_SYSCFG_EXTI_PORTB, LL_SYSCFG_EXTI_LINE2);

	/**/
	LL_GPIO_SetPinPull(GPIOB, LL_GPIO_PIN_2, LL_GPIO_PULL_NO);

	/**/
	LL_GPIO_SetPinMode(GPIOB, LL_GPIO_PIN_2, LL_GPIO_MODE_INPUT);

	/**/
	EXTI_InitStruct.Line_0_31 = LL_EXTI_LINE_2;
	EXTI_InitStruct.LineCommand = ENABLE;
	EXTI_InitStruct.Mode = LL_EXTI_MODE_IT;
	EXTI_InitStruct.Trigger = LL_EXTI_TRIGGER_RISING;
	LL_EXTI_Init(&EXTI_InitStruct);

	/* EXTI interrupt init*/
	NVIC_SetPriority(EXTI2_3_IRQn, 1);
	NVIC_EnableIRQ(EXTI2_3_IRQn);

}

/* USER CODE BEGIN 4 */
float convert_temperature(uint16_t temp_adc_raw) {
	// External temp calculating
	// Rntc = Vout * R1 /  Vin - Vout

	float NTC_R = ((temp_adc_raw * 36500) / (4096 - temp_adc_raw));
	float NTC_T = 1 / (-0.000400644 + (0.000490078 * Log(NTC_R)) + (-0.000000720 * Log(NTC_R) * Log(NTC_R) * Log(NTC_R))) - 273.15;

	return NTC_T;
}

void GPS_Handler(void) {
	if (LL_LPUART_IsEnabledIT_RXNE(LPUART1) && LL_LPUART_IsActiveFlag_RXNE(LPUART1)) {
		if (GpsBufferCounter >= GpsRxBuffer_SIZE) {
			GpsBufferCounter = 0;
			GpsBufferReady = true;
		}
		GpsRxBuffer[GpsBufferCounter] = LL_LPUART_ReceiveData8(LPUART1);
		GpsBufferCounter++;
	} else if (LL_LPUART_IsActiveFlag_ORE(LPUART1)) {
		LL_LPUART_ClearFlag_ORE(LPUART1);
#if DEBUG
		printf("ORE!\r\n");
#endif
	}
}
#if LED_MODE == 2
uint8_t led_cnt = 0;
uint8_t led_wait = 0;
void LED_Handler(void) {
	if (LED_DISABLE_ALT != 0 && GpsData.Alt >= LED_DISABLE_ALT) {
		LL_GPIO_ResetOutputPin(LED_GPIO_Port, LED_Pin);
		LL_TIM_DisableCounter(TIM6);
		LL_TIM_DisableIT_UPDATE(TIM6);
	}
	if(GpsData.Fix>0){
		if(led_cnt>0){
			if(led_cnt%2==0){
				LL_GPIO_SetOutputPin(LED_GPIO_Port, LED_Pin);
			}else{
				LL_GPIO_ResetOutputPin(LED_GPIO_Port, LED_Pin);
			}
			led_cnt--;
			if(led_cnt==0) led_wait = (LED_PERIOD*1000)/LED_TIMER_PERIOD;
		}else if(led_wait > 0){
			led_wait--;
		}else{
			led_cnt = GpsData.Fix*2;
			if(led_cnt==3*2 && adf_clock != ADF_CLOCK) led_cnt+=2;
		}
	}
}
#endif
void DelayWithIWDG(uint16_t time) {
	for (uint16_t i = 0; i < time / 10; i++) {
#ifdef IWDG_ENABLE
		LL_IWDG_ReloadCounter(IWDG);
#endif
		LL_mDelay(10);
	}
}
#if GPS_TYPE == 1
void GpsAirborne(void) {
	LL_LPUART_DisableIT_RXNE(LPUART1); // disable UART RX interrupt to not occure while mode change
	for (uint8_t ih = 0; ih < 2; ih++) {
		for (uint8_t ig = 0; ig < 44; ig++) {
			while (!LL_LPUART_IsActiveFlag_TXE(LPUART1)) {
			}
			LL_LPUART_TransmitData8(LPUART1, GPS_airborne[ig]);
		}
		while (!LL_LPUART_IsActiveFlag_TC(LPUART1)) {
		}
		if (ih == 0) DelayWithIWDG(900);
	}
	LL_LPUART_EnableIT_RXNE(LPUART1); // reenable UART RX interrupt
}
#endif
/* USER CODE END 4 */

void Error_Handler(void) {
	/* USER CODE BEGIN Error_Handler_Debug */
	/* User can add his own implementation to report the HAL error return state
	 */
	__disable_irq();
	while (1) {
	}
	/* USER CODE END Error_Handler_Debug */
}

#ifdef USE_FULL_ASSERT
/**
 * @brief  Reports the name of the source file and the source line number
 *         where the assert_param error has occurred.
 * @param  file: pointer to the source file name
 * @param  line: assert_param error line source number
 * @retval None
 */
void assert_failed(uint8_t* file, uint32_t line) {
	/* USER CODE BEGIN 6 */
	/* User can add his own implementation to report the file name and line
	   number, ex: printf("Wrong parameters value: file %s on line %d\r\n",
	   file, line) */
	/* USER CODE END 6 */
}
#endif /* USE_FULL_ASSERT */
